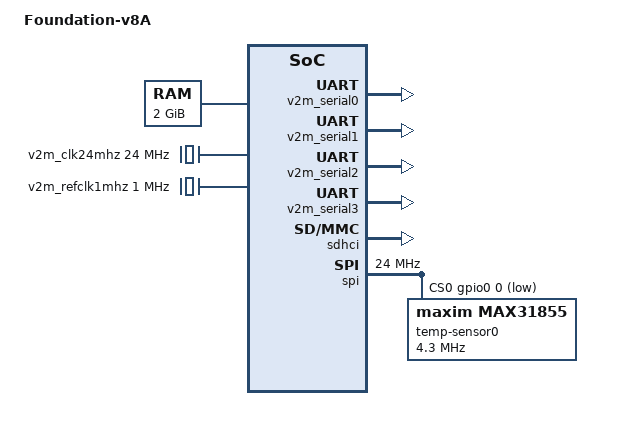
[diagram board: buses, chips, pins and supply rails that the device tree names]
/******************************************************************************
 *                                                                            *
 * Copyright 2024 Lukas Jünger, Nils Bosbach                                  *
 *                                                                            *
 * Licensed under the Apache License, Version 2.0 (the "License");            *
 * you may not use this file except in compliance with the License.           *
 * You may obtain a copy of the License at                                    *
 *                                                                            *
 *     http://www.apache.org/licenses/LICENSE-2.0                             *
 *                                                                            *
 * Unless required by applicable law or agreed to in writing, software        *
 * distributed under the License is distributed on an "AS IS" BASIS,          *
 * WITHOUT WARRANTIES OR CONDITIONS OF ANY KIND, either express or implied.   *
 * See the License for the specific language governing permissions and        *
 * limitations under the License.                                             *
 *                                                                            *
 ******************************************************************************/

#ifndef NRCPU
#error NRCPU undefined
#endif

#ifndef LINUX_IMAGE_SIZE
#error LINUX_IMAGE_SIZE undefined
#endif

#define IRQ_TYPE_LEVEL_HIGH 4
#define GIC_SPI 0
#define GIC_PPI 1

#define GPIO_ACTIVE_HIGH 0
#define GPIO_ACTIVE_LOW 1

/dts-v1/;

/ {
    model = "Foundation-v8A";
    compatible = "arm,foundation-aarch64", "arm,vexpress";
    interrupt-parent = <&gic>;
    #address-cells = <2>;
    #size-cells = <2>;

    aliases {
        serial0 = &v2m_serial0;
        serial1 = &v2m_serial1;
        serial2 = &v2m_serial2;
        serial3 = &v2m_serial3;
    };

    cpus {
        #address-cells = <2>;
        #size-cells = <0>;

        cpu0: cpu@0 {
            device_type = "cpu";
            compatible = "arm,armv8";
            enable-method = "spin-table";
			cpu-release-addr = <0x0 0x00000090>;
            reg = <0x0 0x0>;
        };

#if NRCPU > 1
        cpu1: cpu@1 {
            device_type = "cpu";
            compatible = "arm,armv8";
            enable-method = "spin-table";
            cpu-release-addr = <0x0 0x00000090>;
            reg = <0x0 0x1>;
        };
#if NRCPU > 2
        cpu2: cpu@2 {
            device_type = "cpu";
            compatible = "arm,armv8";
            enable-method = "spin-table";
            cpu-release-addr = <0x0 0x00000090>;
            reg = <0x0 0x2>;
        };
        cpu3: cpu@3 {
            device_type = "cpu";
            compatible = "arm,armv8";
            enable-method = "spin-table";
            cpu-release-addr = <0x0 0x00000090>;
            reg = <0x0 0x3>;
        };
#if NRCPU > 4
        cpu4: cpu@4 {
            device_type = "cpu";
            compatible = "arm,armv8";
            enable-method = "spin-table";
            cpu-release-addr = <0x0 0x00000090>;
            reg = <0x0 0x4>;
        };
        cpu5: cpu@5 {
            device_type = "cpu";
            compatible = "arm,armv8";
            enable-method = "spin-table";
            cpu-release-addr = <0x0 0x00000090>;
            reg = <0x0 0x5>;
        };
        cpu6: cpu@6 {
            device_type = "cpu";
            compatible = "arm,armv8";
            enable-method = "spin-table";
            cpu-release-addr = <0x0 0x00000090>;
            reg = <0x0 0x6>;
        };
        cpu7: cpu@7 {
            device_type = "cpu";
            compatible = "arm,armv8";
            enable-method = "spin-table";
            cpu-release-addr = <0x0 0x00000090>;
            reg = <0x0 0x7>;
        };
#endif // NRCPU > 4
#endif // NRCPU > 2
#endif // NRCPU > 1
    };

    chosen {
        #address-cells = <1>;
        #size-cells = <1>;
        xen,xen-bootargs = "dtuart=serial0 console=dtuart dom0_mem=512M loglvl=none guest_loglvl=none";
        xen,dom0-bootargs = "earlycon=xenboot console=hvc0 earlyprintk=xen debug loglevel=8 root=/dev/mmcblk0p2 rootwait";
        module@7f600000 {
            compatible = "multiboot,kernel", "multiboot,module";
            reg = <0x7f600000 LINUX_IMAGE_SIZE>;
        };
    };

    memory@0 {
        device_type= "memory";
        reg = <0x0 0x00000000 0x0 0x80000000>;
    };

    timer {
        compatible = "arm,armv8-timer", "arm,armv7-timer";
        interrupts = <GIC_PPI 13 0xFF04>, // GT_S
                      <GIC_PPI 14 0xFF04>, // GT_NS
                      <GIC_PPI 11 0xFF04>, // GT_VIRT
                      <GIC_PPI 10 0xFF04>; // GT_HYP

        clock-frequency = <1000000000>;
    };

    amba {
        #address-cells = <2>;
        #size-cells = <2>;
        compatible = "arm,amba-bus", "simple-bus";
        ranges;

        rng: rng@90007000 {
            compatible = "timeriomem_rng";
            reg = <0x0 0x90007000 0x0 0x4>;
            quality = <1000>;
            period = <0>;
        };

        v2m_serial0: uart@90009000 {
            compatible = "arm,pl011", "arm,primecell";
            reg = <0x0 0x90009000 0x0 0x1000>;
            interrupts = <GIC_SPI 5 IRQ_TYPE_LEVEL_HIGH>;
            clocks = <&v2m_clk24mhz>, <&v2m_clk24mhz>;
            clock-names = "uartclk", "apb_pclk";
        };

        v2m_serial1: uart@9000a000 {
            compatible = "arm,pl011", "arm,primecell";
            reg = <0x0 0x9000a000 0x0 0x1000>;
            interrupts = <GIC_SPI 6 IRQ_TYPE_LEVEL_HIGH>;
            clocks = <&v2m_clk24mhz>, <&v2m_clk24mhz>;
            clock-names = "uartclk", "apb_pclk";
        };

        v2m_serial2: uart@9000b000 {
            compatible = "arm,pl011", "arm,primecell";
            reg = <0x0 0x9000b000 0x0 0x1000>;
            interrupts = <GIC_SPI 7 IRQ_TYPE_LEVEL_HIGH>;
            clocks = <&v2m_clk24mhz>, <&v2m_clk24mhz>;
            clock-names = "uartclk", "apb_pclk";
        };

        v2m_serial3: uart@9000c000 {
            compatible = "arm,pl011", "arm,primecell";
            reg = <0x0 0x9000c000 0x0 0x1000>;
            interrupts = <GIC_SPI 8 IRQ_TYPE_LEVEL_HIGH>;
            clocks = <&v2m_clk24mhz>, <&v2m_clk24mhz>;
            clock-names = "uartclk", "apb_pclk";
        };

        gic: interrupt-controller@90140000 {
            compatible = "arm,gic-400";
            #interrupt-cells = <3>;
            #address-cells = <2>;
            #size-cells = <2>;
            interrupt-controller;
            reg = <0x00000000 0x90140000 0x00000000 0x1000>, // GICD
                  <0x00000000 0x90141000 0x00000000 0x2000>, // GICC
                  <0x00000000 0x90143000 0x00000000 0x2000>, // GICVI
                  <0x00000000 0x90145000 0x00000000 0x2000>; // GICVC
			interrupts = <GIC_PPI 9 0xf04>;
        };

        lan0: lan9118@90010000 {
            compatible = "smsc,lan9118", "smsc,lan9115";
            reg = <0x0 0x90010000 0x0 0x10000>;
            interrupts = <GIC_SPI 9 IRQ_TYPE_LEVEL_HIGH>;
            reg-io-width = <4>;
            phy-mode = "mii";
        };

        sdhci: mmc@9000d000 {
            compatible = "fujitsu,mb86s70-sdhci-3.0";
            reg = <0x0 0x9000d000 0x0 0x1000>;
            interrupts = <GIC_SPI 10 IRQ_TYPE_LEVEL_HIGH>;
            clocks = <&v2m_clk24mhz>, <&v2m_clk24mhz>;
            clock-names = "iface", "core";
        };

        spi: spi@90020000 {
            #address-cells = <0x1>;
            #size-cells = <0x0>;
            compatible = "opencores,tiny-spi-rtlsvn2";
            reg = <0x0 0x90020000 0x0 0x1000>;
            interrupts = <GIC_SPI 11 IRQ_TYPE_LEVEL_HIGH>;
            cs-gpios = <&gpio0 0 GPIO_ACTIVE_LOW>;
            num-chipselects = <1>;
            clock-frequency = <24000000>;
            baud-width = <32>;

            temp-sensor0@0 {
                compatible = "maxim,max31855";
                reg = <0>;
                spi-max-frequency = <4300000>;
            };
        };

        gpio0: gpio@9000f000 {
            compatible = "brcm,bcm6345-gpio";
            reg = <0x0 0x9000f000 0x0 0x4>;
            reg-names = "dat";
            gpio-controller;
            #gpio-cells = <2>;
        };

        rtc0: rtc@9000e000 {
            compatible = "maxim,ds1742";
            reg = <0x0 0x9000e000 0x0 0x800>;
        };
    };

    v2m_clk24mhz: clk24mhz {
        compatible = "fixed-clock";
        #clock-cells = <0>;
        clock-frequency = <24000000>;
        clock-output-names = "v2m:clk24mhz", "iface", "core";
    };

    v2m_refclk1mhz: refclk1mhz {
        compatible = "fixed-clock";
        #clock-cells = <0>;
        clock-frequency = <1000000>;
        clock-output-names = "v2m:refclk1mhz";
    };
};
